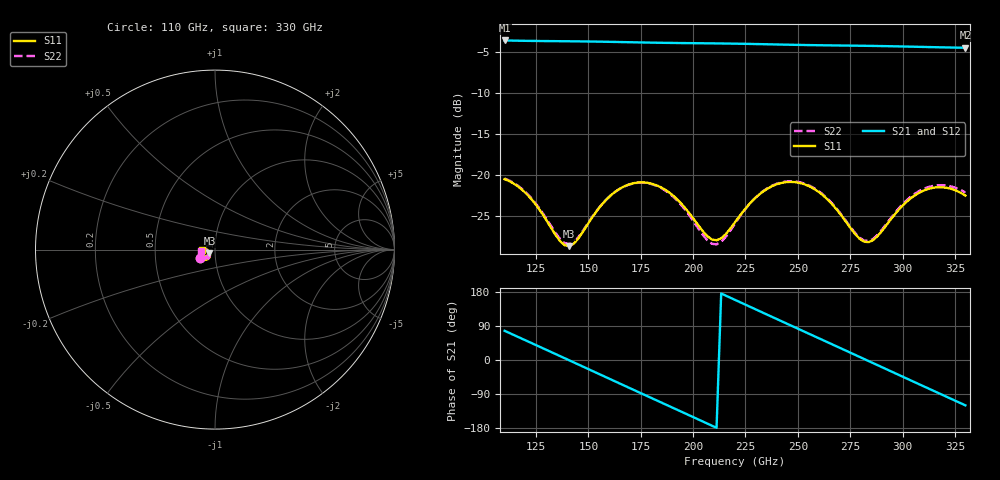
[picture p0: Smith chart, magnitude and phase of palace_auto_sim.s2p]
#  GHZ S DB R 50
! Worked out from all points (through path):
!   101 points, 110 GHz to 330 GHz, reference 50 ohm
!   highest |S21| = -3.56 dB at 110 GHz (marker M1); lowest = -4.5 dB at 330 GHz (marker M2)
!   group delay of S21, straight-line fit = 7.03 ps
!   lowest |S11| = -28.7 dB at 140.8 GHz (marker M3), VSWR 1.08, Z = 47 - j1.89 ohm
!   |S11| at or under -10 dB: start of sweep to end of sweep
!   |S22| runs from -28.5 to -20.4 dB; largest |S21 - S12| = 1.1e-14
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110  -20.50 -150.4  -3.56 77.0  -3.56 77.0  -20.43 -150.1
118.8  -21.90 -164.4  -3.60 54.9  -3.60 54.9  -21.80 -164.0
127.6  -24.58 -172.2  -3.63 32.7  -3.63 32.7  -24.42 -171.6
140.8  -28.69 -146.8  -3.66 -0.7  -3.66 -0.7  -28.43 -147.5
147.4  -26.92 -128.6  -3.68 -17.4  -3.68 -17.4  -26.80 -129.7
156.2  -23.67 -126.7  -3.71 -39.8  -3.71 -39.8  -23.64 -127.5
167.2  -21.37 -139.9  -3.77 -67.7  -3.77 -67.7  -21.38 -140.4
176  -20.89 -153.7  -3.81 -89.9  -3.81 -89.9  -20.93 -154.1
184.8  -21.51 -167.0  -3.85 -112.2  -3.85 -112.2  -21.60 -167.5
198  -24.59 -178.5  -3.89 -145.5  -3.89 -145.5  -24.85 -179.1
209  -27.87 -162.5  -3.92 -173.4  -3.92 -173.4  -28.40 -160.9
220  -25.77 -137.2  -3.96 158.7  -3.96 158.7  -25.93 -133.5
231  -22.49 -140.2  -4.01 130.7  -4.01 130.7  -22.46 -137.1
239.8  -21.14 -151.3  -4.05 108.5  -4.05 108.5  -21.07 -148.5
248.6  -20.87 -164.3  -4.10 86.2  -4.10 86.2  -20.78 -161.7
257.4  -21.64 -176.8  -4.14 64.0  -4.14 64.0  -21.54 -174.2
270.6  -24.88 173.2  -4.18 30.7  -4.18 30.7  -24.77 175.8
281.6  -28.14 -169.3  -4.21 2.8  -4.21 2.8  -28.00 -166.4
294.8  -25.28 -143.0  -4.27 -30.7  -4.27 -30.7  -25.11 -140.1
312.4  -21.68 -157.2  -4.37 -75.3  -4.37 -75.3  -21.46 -153.9
321.2  -21.56 -169.3  -4.41 -97.5  -4.41 -97.5  -21.29 -165.6
330  -22.51 179.8  -4.46 -119.7  -4.46 -119.7  -22.13 -176.1
